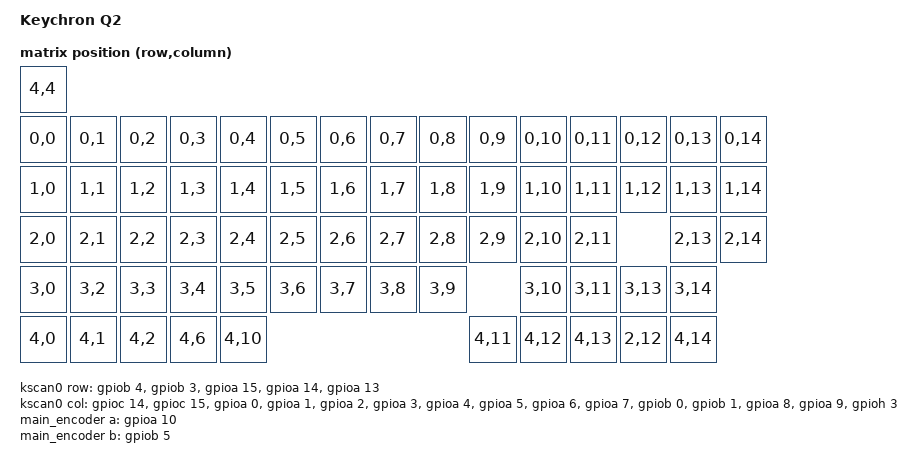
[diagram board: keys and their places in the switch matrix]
/*
 * Copyright (c) 2023 The ZMK Contributors
 *
 * SPDX-License-Identifier: MIT
 */

/dts-v1/;
#include <freq.h>
#include <mem.h>
#include <st/l4/stm32l432.dtsi>
#include <st/l4/stm32l432k(b-c)ux-pinctrl.dtsi>
#include <dt-bindings/zmk/matrix_transform.h>
#include <dt-bindings/zmk/ckled2001.h>

/ {
	model = "Keychron Q2";
	compatible = "keychron,q2", "st,stm32l432";

	chosen {
		zephyr,sram = &sram0;
		zephyr,flash = &flash0;
		zephyr,console = &cdc_acm_uart;
		zmk,kscan = &kscan0;
		zmk,matrix_transform = &default_transform;
		zmk,underglow = &led_strip;
	};

	default_transform: keymap_transform_0 {
		compatible = "zmk,matrix-transform";
		columns = <15>;
		rows = <5>;
		/*
			&mo 1
			&kp ESC    &kp N1   &kp N2  &kp N3 &kp N4 &kp N5 &kp N6 &kp N7 &kp N8 &kp N9    &kp N0   &kp MINUS &kp EQUAL &kp BSPC             &kp INSERT
			&kp TAB    &kp Q    &kp W   &kp E  &kp R  &kp T  &kp Y  &kp U  &kp I  &kp O     &kp P    &kp LBKT  &kp RBKT  &kp BSLH             &kp DEL
			&kp CLCK   &kp A    &kp S   &kp D  &kp F  &kp G  &kp H  &kp J  &kp K  &kp L     &kp SEMI &kp SQT             &kp RET              &kp HOME
			&kp LSHFT           &kp Z   &kp X  &kp C  &kp V  &kp B  &kp N  &kp M  &kp COMMA &kp DOT  &kp FSLH            &kp RSHFT   &kp UP
			&kp LCTRL  &kp LGUI &kp LALT                     &kp SPACE                      &kp RALT &kp RGUI  &kp A     &kp LEFT    &kp DOWN &kp RIGHT
		*/
		map = <
			RC(4,4)
			RC(0,0) RC(0,1) RC(0,2) RC(0,3) RC(0,4) RC(0,5) RC(0,6) RC(0,7) RC(0,8) RC(0,9)  RC(0,10) RC(0,11) RC(0,12) RC(0,13)    	RC(0,14)
			RC(1,0) RC(1,1) RC(1,2) RC(1,3) RC(1,4) RC(1,5) RC(1,6) RC(1,7) RC(1,8) RC(1,9)  RC(1,10) RC(1,11) RC(1,12) RC(1,13)    	RC(1,14)
			RC(2,0) RC(2,1) RC(2,2) RC(2,3) RC(2,4) RC(2,5) RC(2,6) RC(2,7) RC(2,8) RC(2,9)  RC(2,10) RC(2,11)          RC(2,13) 		RC(2,14)
			RC(3,0) 	RC(3,2) RC(3,3) RC(3,4) RC(3,5) RC(3,6) RC(3,7) RC(3,8) RC(3,9)  RC(3,10) RC(3,11) 	    RC(3,13)  RC(3,14)
			RC(4,0) RC(4,1) RC(4,2) 			RC(4,6) 			 RC(4,10) RC(4,11) RC(4,12) RC(4,13)  RC(2,12)  RC(4,14)
		>;
	};

	kscan0: kscan {
		compatible = "zmk,kscan-gpio-matrix";
		label = "KSCAN";
                diode-direction = "row2col";
		row-gpios
			= <&gpiob 4 GPIO_ACTIVE_HIGH>
			, <&gpiob 3 GPIO_ACTIVE_HIGH>
			, <&gpioa 15 GPIO_ACTIVE_HIGH>
			, <&gpioa 14 GPIO_ACTIVE_HIGH>
			, <&gpioa 13 GPIO_ACTIVE_HIGH>
			;
		col-gpios
			= <&gpioc 14 (GPIO_ACTIVE_HIGH | GPIO_PULL_DOWN)>
			, <&gpioc 15 (GPIO_ACTIVE_HIGH | GPIO_PULL_DOWN)>
			, <&gpioa 0 (GPIO_ACTIVE_HIGH | GPIO_PULL_DOWN)>
			, <&gpioa 1 (GPIO_ACTIVE_HIGH | GPIO_PULL_DOWN)>
			, <&gpioa 2 (GPIO_ACTIVE_HIGH | GPIO_PULL_DOWN)>
			, <&gpioa 3 (GPIO_ACTIVE_HIGH | GPIO_PULL_DOWN)>
			, <&gpioa 4 (GPIO_ACTIVE_HIGH | GPIO_PULL_DOWN)>
			, <&gpioa 5 (GPIO_ACTIVE_HIGH | GPIO_PULL_DOWN)>
			, <&gpioa 6 (GPIO_ACTIVE_HIGH | GPIO_PULL_DOWN)>
			, <&gpioa 7 (GPIO_ACTIVE_HIGH | GPIO_PULL_DOWN)>
			, <&gpiob 0 (GPIO_ACTIVE_HIGH | GPIO_PULL_DOWN)>
			, <&gpiob 1 (GPIO_ACTIVE_HIGH | GPIO_PULL_DOWN)>
			, <&gpioa 8 (GPIO_ACTIVE_HIGH | GPIO_PULL_DOWN)>
			, <&gpioa 9 (GPIO_ACTIVE_HIGH | GPIO_PULL_DOWN)>
			, <&gpioh 3 (GPIO_ACTIVE_HIGH | GPIO_PULL_DOWN)>
			;
	};
	main_encoder: encoder_main {
		compatible = "alps,ec11";
		label = "MAIN_ENCODER";
		a-gpios = <&gpioa 10 (GPIO_ACTIVE_HIGH | GPIO_PULL_UP)>;
		b-gpios = <&gpiob 5 (GPIO_ACTIVE_HIGH | GPIO_PULL_UP)>;
		resolution = <4>;
	};

	sensors {
		compatible = "zmk,keymap-sensors";
		sensors = <&main_encoder>;
	};

	led_strip: led-strip-composite {
		compatible = "zmk,led-strip-composite";
		label = "LED_STRIP";
		chain-length = <67>;
		strip-0 {
		    led-strip = <&led_strip_0>;
		};
		strip-1 {
		    led-strip = <&led_strip_1>;
		};
	};
};

&clk_lsi {
	status = "okay";
};

&clk_hsi {
	status = "okay";
};

&pll {
	div-m = <1>;
	mul-n = <20>;
	div-p = <7>;
	div-q = <2>;
	div-r = <4>;
	clocks = <&clk_hsi>;
	status = "okay";
};

&rcc {
	clocks = <&pll>;
	clock-frequency = <DT_FREQ_M(80)>;
	ahb-prescaler = <1>;
	apb1-prescaler = <1>;
	apb2-prescaler = <1>;
};

&usb {
	status = "okay";
	pinctrl-0 = <&usb_dm_pa11 &usb_dp_pa12>;
	pinctrl-names = "default";
	cdc_acm_uart: cdc_acm_uart {
		compatible = "zephyr,cdc-acm-uart";
		label = "CDC_ACM_0";
	};
};

&rtc {
	status = "okay";
};

&sram0 {
	reg = <0x20000000 DT_SIZE_K(48)>;
};

&i2c1 {
	pinctrl-0 = <&i2c1_scl_pb6 &i2c1_sda_pb7>;
	pinctrl-names = "default";
	status = "okay";

	clock-frequency = <DT_FREQ_K(400)>;

	led_strip_0: ckled2001@77 {
		compatible = "zmk,ckled2001";
		label = "LED_STRIP_0";
		/* ADDR/CS pin connected to VDDIO */
		/* Located closer to the USB daughterboard connection */
		reg = <0x77>;
		chain-length = <34>;
		map = <
		/* ROW 0 */
		/*   R        G        B */
		CK(2, 0) CK(0, 0) CK(1, 0)
		CK(2, 1) CK(0, 1) CK(1, 1)
		CK(2, 2) CK(0, 2) CK(1, 2)
		CK(2, 3) CK(0, 3) CK(1, 3)
		CK(2, 4) CK(0, 4) CK(1, 4)
		CK(2, 5) CK(0, 5) CK(1, 5)
		CK(2, 6) CK(0, 6) CK(1, 6)
		CK(2, 7) CK(0, 7) CK(1, 7)
		CK(2, 8) CK(0, 8) CK(1, 8)
		CK(2, 9) CK(0, 9) CK(1, 9)
		CK(2,10) CK(0,10) CK(1,10)
		CK(2,11) CK(0,11) CK(1,11)
		CK(2,12) CK(0,12) CK(1,12)
		CK(2,13) CK(0,13) CK(1,13)
		CK(2,15) CK(0,15) CK(1,15)
		/* ROW 1 */
		/*   R        G        B */
		CK(8, 0) CK(6, 0) CK(7, 0)
		CK(8, 1) CK(6, 1) CK(7, 1)
		CK(8, 2) CK(6, 2) CK(7, 2)
		CK(8, 3) CK(6, 3) CK(7, 3)
		/* ROW 2 */
		/*   R        G        B */
		CK(5, 0) CK(3, 0) CK(4, 0)
		CK(5, 1) CK(3, 1) CK(4, 1)
		CK(5, 2) CK(3, 2) CK(4, 2)
		CK(5, 3) CK(3, 3) CK(4, 3)
		CK(5, 4) CK(3, 4) CK(4, 4)
		CK(5, 5) CK(3, 5) CK(4, 5)
		CK(5, 6) CK(3, 6) CK(4, 6)
		CK(5, 7) CK(3, 7) CK(4, 7)
		CK(5, 8) CK(3, 8) CK(4, 8)
		CK(5, 9) CK(3, 9) CK(4, 9)
		CK(5,10) CK(3,10) CK(4,10)
		CK(5,11) CK(3,11) CK(4,11)
		CK(5,12) CK(3,12) CK(4,12)
		CK(5,13) CK(3,13) CK(4,13)
		CK(5,15) CK(3,15) CK(4,15)
		>;
	};

	led_strip_1: ckled2001@74 {
		compatible = "zmk,ckled2001";
		label = "LED_STRIP_1";
		/* ADDR/CS pin connected to GND */
		/* Located closer to the space bar */
		reg = <0x74>;
		chain-length = <33>;
		map = <
		/* ROW 3 */
		/*   R        G        B */
		CK(8, 4) CK(6, 4) CK(7, 4)
		CK(8, 5) CK(6, 5) CK(7, 5)
		CK(8, 6) CK(6, 6) CK(7, 6)
		CK(8, 7) CK(6, 7) CK(7, 7)
		CK(8, 8) CK(6, 8) CK(7, 8)
		CK(8, 9) CK(6, 9) CK(7, 9)
		CK(8,10) CK(6,10) CK(7,10)
		CK(8,11) CK(6,11) CK(7,11)
		CK(8,13) CK(6,13) CK(7,13)
		CK(8,15) CK(6,15) CK(7,15)
		/* ROW 4 */
		/*   R        G        B */
		CK(5, 0) CK(3, 0) CK(4, 0)
		CK(5, 1) CK(3, 1) CK(4, 1)
		CK(5, 2) CK(3, 2) CK(4, 2)
		CK(5, 6) CK(3, 6) CK(4, 6)
		CK(5,10) CK(3,10) CK(4,10)
		CK(5,11) CK(3,11) CK(4,11)
		CK(5,12) CK(3,12) CK(4,12)
		CK(5,13) CK(3,13) CK(4,13)
		CK(5,14) CK(3,14) CK(4,14)
		CK(5,15) CK(3,15) CK(4,15)
		/* ROW 5 */
		/*   R        G        B */
		CK(2, 0) CK(0, 0) CK(1, 0)
		CK(2, 2) CK(0, 2) CK(1, 2)
		CK(2, 3) CK(0, 3) CK(1, 3)
		CK(2, 4) CK(0, 4) CK(1, 4)
		CK(2, 5) CK(0, 5) CK(1, 5)
		CK(2, 6) CK(0, 6) CK(1, 6)
		CK(2, 7) CK(0, 7) CK(1, 7)
		CK(2, 8) CK(0, 8) CK(1, 8)
		CK(2, 9) CK(0, 9) CK(1, 9)
		CK(2,10) CK(0,10) CK(1,10)
		CK(2,11) CK(0,11) CK(1,11)
		CK(2,13) CK(0,13) CK(1,13)
		CK(2,14) CK(0,14) CK(1,14)
		>;
	};
};

&flash0 {
	reg = <0x8000000 DT_SIZE_K(128)>;
	/*
	 * For more information, see:
	 * http://docs.zephyrproject.org/latest/guides/dts/index.html#flash-partitions
	 */
	partitions {
		compatible = "fixed-partitions";
		#address-cells = <1>;
		#size-cells = <1>;

		/* Set 6Kb of storage at the end of the 128Kb of flash */
		code_partition: partition@0 {
			label = "code_partition";
			reg = <DT_SIZE_K(0) DT_SIZE_K(124)>;
		};

		storage_partition: partition@1f000 {
			label = "storage";
			reg = <DT_SIZE_K(124) DT_SIZE_K(4)>;
		};
	};
};
